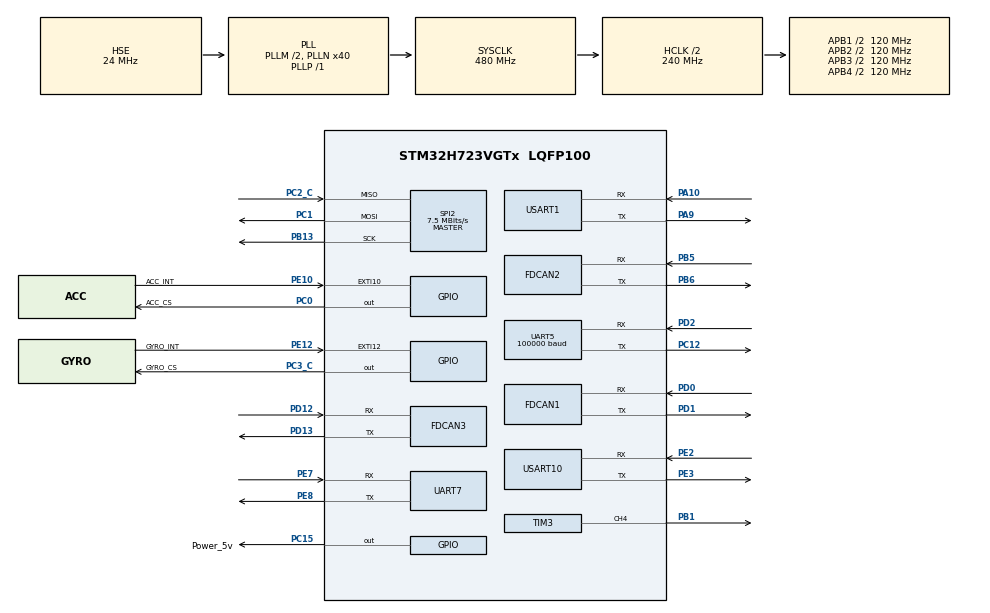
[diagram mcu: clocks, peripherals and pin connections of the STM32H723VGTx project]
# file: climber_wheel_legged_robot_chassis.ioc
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CORTEX_M7.AccessPermission-Cortex_Memory_Protection_Unit_Region0_Settings=MPU_REGION_FULL_ACCESS
CORTEX_M7.BaseAddress-Cortex_Memory_Protection_Unit_Region0_Settings=0x24000000
CORTEX_M7.CPU_DCache=Disabled
CORTEX_M7.CPU_ICache=Disabled
CORTEX_M7.Enable-Cortex_Memory_Protection_Unit_Region0_Settings=MPU_REGION_ENABLE
CORTEX_M7.IsBufferable-Cortex_Memory_Protection_Unit_Region0_Settings=MPU_ACCESS_BUFFERABLE
CORTEX_M7.IsCacheable-Cortex_Memory_Protection_Unit_Region0_Settings=MPU_ACCESS_CACHEABLE
CORTEX_M7.MPU_Control=__NULL
CORTEX_M7.Size-Cortex_Memory_Protection_Unit_Region0_Settings=MPU_REGION_SIZE_512KB
CORTEX_M7.TypeExtField-Cortex_Memory_Protection_Unit_Region0_Settings=MPU_TEX_LEVEL1
Dma.Request0=UART5_RX
Dma.Request1=SPI2_RX
Dma.Request2=SPI2_TX
Dma.Request3=USART1_TX
Dma.Request4=UART7_RX
Dma.Request5=UART7_TX
Dma.Request6=USART10_RX
Dma.SPI2_RX.1.Direction=DMA_PERIPH_TO_MEMORY
Dma.SPI2_RX.1.EventEnable=DISABLE
Dma.SPI2_RX.1.FIFOMode=DMA_FIFOMODE_DISABLE
Dma.SPI2_RX.1.Instance=DMA1_Stream0
Dma.SPI2_RX.1.MemDataAlignment=DMA_MDATAALIGN_BYTE
Dma.SPI2_RX.1.MemInc=DMA_MINC_ENABLE
Dma.SPI2_RX.1.Mode=DMA_NORMAL
Dma.SPI2_RX.1.PeriphDataAlignment=DMA_PDATAALIGN_BYTE
Dma.SPI2_RX.1.PeriphInc=DMA_PINC_DISABLE
Dma.SPI2_RX.1.Polarity=HAL_DMAMUX_REQ_GEN_RISING
Dma.SPI2_RX.1.Priority=DMA_PRIORITY_VERY_HIGH
Dma.SPI2_RX.1.RequestNumber=1
Dma.SPI2_RX.1.SignalID=NONE
Dma.SPI2_RX.1.SyncEnable=DISABLE
Dma.SPI2_RX.1.SyncPolarity=HAL_DMAMUX_SYNC_NO_EVENT
Dma.SPI2_RX.1.SyncRequestNumber=1
Dma.SPI2_RX.1.SyncSignalID=NONE
Dma.SPI2_TX.2.Direction=DMA_MEMORY_TO_PERIPH
Dma.SPI2_TX.2.EventEnable=DISABLE
Dma.SPI2_TX.2.FIFOMode=DMA_FIFOMODE_DISABLE
Dma.SPI2_TX.2.Instance=DMA1_Stream2
Dma.SPI2_TX.2.MemDataAlignment=DMA_MDATAALIGN_BYTE
Dma.SPI2_TX.2.MemInc=DMA_MINC_ENABLE
Dma.SPI2_TX.2.Mode=DMA_NORMAL
Dma.SPI2_TX.2.PeriphDataAlignment=DMA_PDATAALIGN_BYTE
Dma.SPI2_TX.2.PeriphInc=DMA_PINC_DISABLE
Dma.SPI2_TX.2.Polarity=HAL_DMAMUX_REQ_GEN_RISING
Dma.SPI2_TX.2.Priority=DMA_PRIORITY_HIGH
Dma.SPI2_TX.2.RequestNumber=1
Dma.SPI2_TX.2.SignalID=NONE
Dma.SPI2_TX.2.SyncEnable=DISABLE
Dma.SPI2_TX.2.SyncPolarity=HAL_DMAMUX_SYNC_NO_EVENT
Dma.SPI2_TX.2.SyncRequestNumber=1
Dma.SPI2_TX.2.SyncSignalID=NONE
Dma.UART5_RX.0.Direction=DMA_PERIPH_TO_MEMORY
Dma.UART5_RX.0.EventEnable=DISABLE
Dma.UART5_RX.0.FIFOMode=DMA_FIFOMODE_DISABLE
Dma.UART5_RX.0.Instance=DMA2_Stream1
Dma.UART5_RX.0.MemDataAlignment=DMA_MDATAALIGN_BYTE
Dma.UART5_RX.0.MemInc=DMA_MINC_ENABLE
Dma.UART5_RX.0.Mode=DMA_CIRCULAR
Dma.UART5_RX.0.PeriphDataAlignment=DMA_PDATAALIGN_BYTE
Dma.UART5_RX.0.PeriphInc=DMA_PINC_DISABLE
Dma.UART5_RX.0.Polarity=HAL_DMAMUX_REQ_GEN_RISING
Dma.UART5_RX.0.Priority=DMA_PRIORITY_LOW
Dma.UART5_RX.0.RequestNumber=1
Dma.UART5_RX.0.SignalID=NONE
Dma.UART5_RX.0.SyncEnable=DISABLE
Dma.UART5_RX.0.SyncPolarity=HAL_DMAMUX_SYNC_NO_EVENT
Dma.UART5_RX.0.SyncRequestNumber=1
Dma.UART5_RX.0.SyncSignalID=NONE
Dma.UART7_RX.4.Direction=DMA_PERIPH_TO_MEMORY
Dma.UART7_RX.4.EventEnable=DISABLE
Dma.UART7_RX.4.FIFOMode=DMA_FIFOMODE_DISABLE
Dma.UART7_RX.4.Instance=DMA2_Stream6
Dma.UART7_RX.4.MemDataAlignment=DMA_MDATAALIGN_BYTE
Dma.UART7_RX.4.MemInc=DMA_MINC_ENABLE
Dma.UART7_RX.4.Mode=DMA_NORMAL
Dma.UART7_RX.4.PeriphDataAlignment=DMA_PDATAALIGN_BYTE
Dma.UART7_RX.4.PeriphInc=DMA_PINC_DISABLE
Dma.UART7_RX.4.Polarity=HAL_DMAMUX_REQ_GEN_RISING
Dma.UART7_RX.4.Priority=DMA_PRIORITY_LOW
Dma.UART7_RX.4.RequestNumber=1
Dma.UART7_RX.4.SignalID=NONE
Dma.UART7_RX.4.SyncEnable=DISABLE
Dma.UART7_RX.4.SyncPolarity=HAL_DMAMUX_SYNC_NO_EVENT
Dma.UART7_RX.4.SyncRequestNumber=1
Dma.UART7_RX.4.SyncSignalID=NONE
Dma.UART7_TX.5.Direction=DMA_MEMORY_TO_PERIPH
Dma.UART7_TX.5.EventEnable=DISABLE
Dma.UART7_TX.5.FIFOMode=DMA_FIFOMODE_DISABLE
Dma.UART7_TX.5.Instance=DMA1_Stream1
Dma.UART7_TX.5.MemDataAlignment=DMA_MDATAALIGN_BYTE
Dma.UART7_TX.5.MemInc=DMA_MINC_ENABLE
Dma.UART7_TX.5.Mode=DMA_NORMAL
Dma.UART7_TX.5.PeriphDataAlignment=DMA_PDATAALIGN_BYTE
Dma.UART7_TX.5.PeriphInc=DMA_PINC_DISABLE
Dma.UART7_TX.5.Polarity=HAL_DMAMUX_REQ_GEN_RISING
Dma.UART7_TX.5.Priority=DMA_PRIORITY_LOW
Dma.UART7_TX.5.RequestNumber=1
Dma.UART7_TX.5.SignalID=NONE
Dma.UART7_TX.5.SyncEnable=DISABLE
Dma.UART7_TX.5.SyncPolarity=HAL_DMAMUX_SYNC_NO_EVENT
Dma.UART7_TX.5.SyncRequestNumber=1
Dma.UART7_TX.5.SyncSignalID=NONE
Dma.USART10_RX.6.Direction=DMA_PERIPH_TO_MEMORY
Dma.USART10_RX.6.EventEnable=DISABLE
Dma.USART10_RX.6.FIFOMode=DMA_FIFOMODE_DISABLE
Dma.USART10_RX.6.Instance=DMA1_Stream3
Dma.USART10_RX.6.MemDataAlignment=DMA_MDATAALIGN_BYTE
Dma.USART10_RX.6.MemInc=DMA_MINC_ENABLE
Dma.USART10_RX.6.Mode=DMA_NORMAL
Dma.USART10_RX.6.PeriphDataAlignment=DMA_PDATAALIGN_BYTE
Dma.USART10_RX.6.PeriphInc=DMA_PINC_DISABLE
Dma.USART10_RX.6.Polarity=HAL_DMAMUX_REQ_GEN_RISING
Dma.USART10_RX.6.Priority=DMA_PRIORITY_MEDIUM
Dma.USART10_RX.6.RequestNumber=1
Dma.USART10_RX.6.SignalID=NONE
Dma.USART10_RX.6.SyncEnable=DISABLE
Dma.USART10_RX.6.SyncPolarity=HAL_DMAMUX_SYNC_NO_EVENT
Dma.USART10_RX.6.SyncRequestNumber=1
Dma.USART10_RX.6.SyncSignalID=NONE
Dma.USART1_TX.3.Direction=DMA_MEMORY_TO_PERIPH
Dma.USART1_TX.3.EventEnable=DISABLE
Dma.USART1_TX.3.FIFOMode=DMA_FIFOMODE_DISABLE
Dma.USART1_TX.3.Instance=DMA2_Stream0
Dma.USART1_TX.3.MemDataAlignment=DMA_MDATAALIGN_BYTE
Dma.USART1_TX.3.MemInc=DMA_MINC_ENABLE
Dma.USART1_TX.3.Mode=DMA_NORMAL
Dma.USART1_TX.3.PeriphDataAlignment=DMA_PDATAALIGN_BYTE
Dma.USART1_TX.3.PeriphInc=DMA_PINC_DISABLE
Dma.USART1_TX.3.Polarity=HAL_DMAMUX_REQ_GEN_RISING
Dma.USART1_TX.3.Priority=DMA_PRIORITY_LOW
Dma.USART1_TX.3.RequestNumber=1
Dma.USART1_TX.3.SignalID=NONE
Dma.USART1_TX.3.SyncEnable=DISABLE
Dma.USART1_TX.3.SyncPolarity=HAL_DMAMUX_SYNC_NO_EVENT
Dma.USART1_TX.3.SyncRequestNumber=1
Dma.USART1_TX.3.SyncSignalID=NONE
FDCAN1.AutoRetransmission=ENABLE
FDCAN1.CalculateBaudRateNominal=1000000
FDCAN1.CalculateTimeBitNominal=1000
FDCAN1.CalculateTimeQuantumNominal=50.0
FDCAN1.DataPrescaler=5
FDCAN1.DataSyncJumpWidth=1
FDCAN1.DataTimeSeg1=14
FDCAN1.DataTimeSeg2=5
FDCAN1.ExtFiltersNbr=0
FDCAN1.FrameFormat=FDCAN_FRAME_CLASSIC
FDCAN1.NominalPrescaler=5
FDCAN1.NominalSyncJumpWidth=1
FDCAN1.NominalTimeSeg1=14
FDCAN1.NominalTimeSeg2=5
FDCAN1.ProtocolException=DISABLE
FDCAN1.RxBuffersNbr=0
FDCAN1.RxFifo0ElmtSize=FDCAN_DATA_BYTES_8
FDCAN1.RxFifo0ElmtsNbr=4
FDCAN1.RxFifo1ElmtSize=FDCAN_DATA_BYTES_8
FDCAN1.RxFifo1ElmtsNbr=0
FDCAN1.StdFiltersNbr=1
FDCAN1.TxBuffersNbr=0
FDCAN1.TxElmtSize=FDCAN_DATA_BYTES_8
FDCAN1.TxEventsNbr=0
FDCAN1.TxFifoQueueElmtsNbr=3
FDCAN2.AutoRetransmission=ENABLE
FDCAN2.CalculateBaudRateNominal=1000000
FDCAN2.CalculateTimeBitNominal=1000
FDCAN2.CalculateTimeQuantumNominal=50.0
FDCAN2.DataPrescaler=5
FDCAN2.DataSyncJumpWidth=1
FDCAN2.DataTimeSeg1=14
FDCAN2.DataTimeSeg2=5
FDCAN2.ExtFiltersNbr=0
FDCAN2.FrameFormat=FDCAN_FRAME_CLASSIC
FDCAN2.MessageRAMOffset=854
FDCAN2.NominalPrescaler=5
FDCAN2.NominalSyncJumpWidth=1
FDCAN2.NominalTimeSeg1=14
FDCAN2.NominalTimeSeg2=5
FDCAN2.ProtocolException=DISABLE
FDCAN2.RxBufferSize=FDCAN_DATA_BYTES_8
FDCAN2.RxBuffersNbr=0
FDCAN2.RxFifo0ElmtsNbr=0
FDCAN2.RxFifo1ElmtSize=FDCAN_DATA_BYTES_8
FDCAN2.RxFifo1ElmtsNbr=4
FDCAN2.StdFiltersNbr=1
FDCAN2.TxBuffersNbr=0
FDCAN2.TxElmtSize=FDCAN_DATA_BYTES_8
FDCAN2.TxEventsNbr=0
FDCAN2.TxFifoQueueElmtsNbr=3
FDCAN3.CalculateBaudRateNominal=1000000
FDCAN3.CalculateTimeBitNominal=1000
FDCAN3.CalculateTimeQuantumNominal=50.0
FDCAN3.DataPrescaler=5
FDCAN3.DataSyncJumpWidth=1
FDCAN3.DataTimeSeg1=14
FDCAN3.DataTimeSeg2=5
FDCAN3.ExtFiltersNbr=0
FDCAN3.FrameFormat=FDCAN_FRAME_CLASSIC
FDCAN3.MessageRAMOffset=1709
FDCAN3.NominalPrescaler=5
FDCAN3.NominalSyncJumpWidth=1
FDCAN3.NominalTimeSeg1=14
FDCAN3.NominalTimeSeg2=5
FDCAN3.RxBuffersNbr=0
FDCAN3.RxFifo0ElmtsNbr=4
FDCAN3.RxFifo1ElmtsNbr=0
FDCAN3.StdFiltersNbr=1
FDCAN3.TxBuffersNbr=0
FDCAN3.TxElmtSize=FDCAN_DATA_BYTES_24
FDCAN3.TxEventsNbr=0
FDCAN3.TxFifoQueueElmtsNbr=4
FREERTOS.Tasks01=defaultTask,-2,128,StartDefaultTask,Default,NULL,Dynamic,NULL,NULL;Chassis_Task,1,512,chassis_task,As external,NULL,Dynamic,NULL,NULL;IMU_task,3,1024,imu_task,As weak,NULL,Dynamic,NULL,NULL;State_check,0,128,State_check_task,As weak,NULL,Dynamic,NULL,NULL;MY_UI_Task,0,512,UI_Task,As weak,NULL,Dynamic,NULL,NULL;Talk_Task,0,128,Talk_Task_start,As weak,NULL,Dynamic,NULL,NULL
Mcu.Family=STM32H7
Mcu.Name=STM32H723VGTx
Mcu.Package=LQFP100
NVIC.DMA1_Stream0_IRQn=true\:5\:0\:false\:false\:true\:true\:false\:true\:true
NVIC.DMA1_Stream1_IRQn=true\:5\:0\:false\:false\:true\:true\:false\:true\:true
NVIC.DMA1_Stream2_IRQn=true\:5\:0\:true\:false\:true\:false\:false\:true\:true
NVIC.DMA1_Stream3_IRQn=true\:5\:0\:false\:false\:true\:true\:false\:true\:true
NVIC.DMA2_Stream0_IRQn=true\:5\:0\:false\:false\:true\:true\:false\:true\:true
NVIC.DMA2_Stream1_IRQn=true\:5\:0\:false\:false\:true\:false\:false\:true\:true
NVIC.DMA2_Stream6_IRQn=true\:5\:0\:false\:false\:true\:false\:false\:true\:true
NVIC.FDCAN1_IT0_IRQn=true\:5\:0\:false\:false\:true\:true\:true\:true\:true
NVIC.FDCAN2_IT0_IRQn=true\:5\:0\:false\:false\:true\:true\:true\:true\:true
NVIC.FDCAN3_IT0_IRQn=true\:5\:0\:false\:false\:true\:true\:true\:true\:true
NVIC.PriorityGroup=NVIC_PRIORITYGROUP_4
NVIC.SPI2_IRQn=true\:5\:0\:false\:false\:true\:true\:true\:true\:true
NVIC.TIM2_IRQn=true\:15\:0\:false\:false\:true\:false\:false\:true\:true
NVIC.TimeBase=TIM2_IRQn
NVIC.TimeBaseIP=TIM2
NVIC.UART5_IRQn=true\:5\:0\:false\:false\:true\:true\:true\:true\:true
NVIC.UART7_IRQn=true\:5\:0\:false\:false\:false\:true\:true\:true\:true
NVIC.USART10_IRQn=true\:5\:0\:false\:false\:false\:true\:true\:true\:true
NVIC.USART1_IRQn=true\:5\:0\:false\:false\:true\:true\:true\:true\:true
PA10.Mode=Asynchronous
PA10.Signal=USART1_RX
PA13(JTMS/SWDIO).Mode=Serial_Wire
PA13(JTMS/SWDIO).Signal=DEBUG_JTMS-SWDIO
PA14(JTCK/SWCLK).Mode=Serial_Wire
PA14(JTCK/SWCLK).Signal=DEBUG_JTCK-SWCLK
PA9.Mode=Asynchronous
PA9.Signal=USART1_TX
PB1.Signal=S_TIM3_CH4
PB13.Mode=Full_Duplex_Master
PB13.Signal=SPI2_SCK
PB5.Mode=FDCAN_Activate
PB5.Signal=FDCAN2_RX
PB6.Mode=FDCAN_Activate
PB6.Signal=FDCAN2_TX
PC0.GPIO_Label=ACC_CS
PC0.GPIO_Speed=GPIO_SPEED_FREQ_VERY_HIGH
PC0.PinState=GPIO_PIN_SET
PC0.Signal=GPIO_Output
PC1.Mode=Full_Duplex_Master
PC1.Signal=SPI2_MOSI
PC12.Mode=Asynchronous
PC12.Signal=UART5_TX
PC15-OSC32_OUT.GPIO_Label=Power_5v
PC15-OSC32_OUT.Signal=GPIO_Output
PC2_C.Mode=Full_Duplex_Master
PC2_C.Signal=SPI2_MISO
PC3_C.GPIO_Label=GYRO_CS
PC3_C.GPIO_Speed=GPIO_SPEED_FREQ_VERY_HIGH
PC3_C.PinState=GPIO_PIN_SET
PC3_C.Signal=GPIO_Output
PD0.Mode=FDCAN_Activate
PD0.Signal=FDCAN1_RX
PD1.Mode=FDCAN_Activate
PD1.Signal=FDCAN1_TX
PD12.Mode=FDCAN_Activate
PD12.Signal=FDCAN3_RX
PD13.Mode=FDCAN_Activate
PD13.Signal=FDCAN3_TX
PD2.Mode=Asynchronous
PD2.Signal=UART5_RX
PE10.GPIO_Label=ACC_INT
PE10.Signal=GPXTI10
PE12.GPIO_Label=GYRO_INT
PE12.Signal=GPXTI12
PE2.Mode=Asynchronous
PE2.Signal=USART10_RX
PE3.Mode=Asynchronous
PE3.Signal=USART10_TX
PE7.Mode=Asynchronous
PE7.Signal=UART7_RX
PE8.Mode=Asynchronous
PE8.Signal=UART7_TX
PH0-OSC_IN.Mode=HSE-External-Oscillator
PH0-OSC_IN.Signal=RCC_OSC_IN
PH1-OSC_OUT.Mode=HSE-External-Oscillator
PH1-OSC_OUT.Signal=RCC_OSC_OUT
ProjectManager.HeapSize=0x200
ProjectManager.StackSize=0x800
ProjectManager.TargetToolchain=MDK-ARM V5.32
RCC.ADCFreq_Value=100000000
RCC.APB1Freq_Value=120000000
RCC.APB2Freq_Value=120000000
RCC.APB3Freq_Value=120000000
RCC.APB4Freq_Value=120000000
RCC.CortexFreq_Value=480000000
RCC.D1PPRE=RCC_APB3_DIV2
RCC.D2PPRE1=RCC_APB1_DIV2
RCC.D2PPRE2=RCC_APB2_DIV2
RCC.D3PPRE=RCC_APB4_DIV2
RCC.DIVM1=2
RCC.DIVM2=24
RCC.DIVN1=40
RCC.DIVN2=200
RCC.DIVP1=1
RCC.FDCANCLockSelection=RCC_FDCANCLKSOURCE_PLL2
RCC.HCLKFreq_Value=240000000
RCC.HPRE=RCC_HCLK_DIV2
RCC.HSE_VALUE=24000000
RCC.PLL2FRACN=0
RCC.PLL3FRACN=0
RCC.PLLFRACN=0
RCC.PLLSourceVirtual=RCC_PLLSOURCE_HSE
RCC.SYSCLKFreq_VALUE=480000000
RCC.SYSCLKSource=RCC_SYSCLKSOURCE_PLLCLK
RCC.USBFreq_Value=240000000
SH.S_TIM3_CH4.0=TIM3_CH4,PWM Generation4 CH4
SPI2.BaudRatePrescaler=SPI_BAUDRATEPRESCALER_32
SPI2.CLKPhase=SPI_PHASE_2EDGE
SPI2.CLKPolarity=SPI_POLARITY_HIGH
SPI2.CalculateBaudRate=7.5 MBits/s
SPI2.DataSize=SPI_DATASIZE_8BIT
SPI2.Direction=SPI_DIRECTION_2LINES
SPI2.Mode=SPI_MODE_MASTER
SPI2.VirtualType=VM_MASTER
TIM3.AutoReloadPreload=TIM_AUTORELOAD_PRELOAD_ENABLE
TIM3.Channel-PWM\ Generation4\ CH4=TIM_CHANNEL_4
TIM3.Period=10000-1
TIM3.Prescaler=24-1
UART5.BaudRate=100000
UART5.Mode=MODE_TX_RX
UART5.Parity=PARITY_EVEN
UART5.StopBits=UART_STOPBITS_2
UART5.WordLength=WORDLENGTH_9B
USART1.VirtualMode-Asynchronous=VM_ASYNC
USART10.VirtualMode=VM_ASYNC
VP_FREERTOS_VS_CMSIS_V1.Mode=CMSIS_V1
VP_MEMORYMAP_VS_MEMORYMAP.Mode=CurAppReg
VP_SYS_VS_tim2.Mode=TIM2
board=custom

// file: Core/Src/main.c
/* USER CODE BEGIN Header */
/**
  ******************************************************************************
  * @file           : main.c
  * @brief          : Main program body
  ******************************************************************************
  * @attention
  *
  * Copyright (c) 2025 STMicroelectronics.
  * All rights reserved.
  *
  * This software is licensed under terms that can be found in the LICENSE file
  * in the root directory of this software component.
  * If no LICENSE file comes with this software, it is provided AS-IS.
  *
  ******************************************************************************

	�����ֲ�;
	��������          ����̬             ���������쳤��Ȼ�����ڶ����Ӵ���������
	��������          ��������ϵ����    ҡ�����ɿ��ƣ���ת��ˮƽҡ�ˣ�ǰ����������ֱҡ��   ����ֱҡ�˿����ȳ�
											1.������ؼ��   ��֤��ˮƽ���˿���
  */
/* USER CODE END Header */
#include "main.h"
#include "cmsis_os.h"
#include "dma.h"
#include "fdcan.h"
#include "spi.h"
#include "tim.h"
#include "usart.h"
#include "gpio.h"

/* USER CODE BEGIN Includes */
#include "bsp_can.h"
#include "CAN_cmd_damiao.h"
#include "IMU_task.h"
#include "bsp_rc.h"
#include "CAN_receive.h"
#include "chassis_task.h"
#include "computer_rec.h"
#include "TOF_distance.h"
extern uint8_t rx_buff[BUFF_SIZE];

/* USER CODE END Includes */

void SystemClock_Config(void);
void PeriphCommonClock_Config(void);
void MX_FREERTOS_Init(void);

int main(void)
{

  /* MCU Configuration--------------------------------------------------------*/

  /* Reset of all peripherals, Initializes the Flash interface and the Systick. */

  HAL_Init();

  /* Configure the system clock */
  SystemClock_Config();

  /* Configure the peripherals common clocks */
  PeriphCommonClock_Config();

  /* Initialize all configured peripherals */
  MX_GPIO_Init();
  MX_DMA_Init();
  MX_FDCAN1_Init();
  MX_FDCAN2_Init();
  MX_FDCAN3_Init();
  MX_SPI2_Init();
  MX_TIM3_Init();
  MX_UART5_Init();
  MX_USART1_UART_Init();
  MX_UART7_Init();
  MX_USART10_UART_Init();
  /* USER CODE BEGIN 2 */
  FDCAN1_Config();
	FDCAN2_Config();
  FDCAN3_Config();

 HAL_UARTEx_ReceiveToIdle_IT(&huart5,rx_buff, 18);
 Computer_rec_init();
 TOF_control_init();

	HAL_GPIO_WritePin(Power_5v_GPIO_Port,Power_5v_Pin,1);
  /* USER CODE END 2 */

  /* Call init function for freertos objects (in cmsis_os2.c) */
  MX_FREERTOS_Init();

  /* Start scheduler */
  osKernelStart();

  /* We should never get here as control is now taken by the scheduler */

  /* Infinite loop */
  while (1)
  {

  }
}

void SystemClock_Config(void)
{
  RCC_OscInitTypeDef RCC_OscInitStruct = {0};
  RCC_ClkInitTypeDef RCC_ClkInitStruct = {0};

  /** Supply configuration update enable
  */
  HAL_PWREx_ConfigSupply(PWR_LDO_SUPPLY);

  /** Configure the main internal regulator output voltage
  */
  __HAL_PWR_VOLTAGESCALING_CONFIG(PWR_REGULATOR_VOLTAGE_SCALE0);

  while(!__HAL_PWR_GET_FLAG(PWR_FLAG_VOSRDY)) {}

  /** Initializes the RCC Oscillators according to the specified parameters
  * in the RCC_OscInitTypeDef structure.
  */
  RCC_OscInitStruct.OscillatorType = RCC_OSCILLATORTYPE_HSE;
  RCC_OscInitStruct.HSEState = RCC_HSE_ON;
  RCC_OscInitStruct.PLL.PLLState = RCC_PLL_ON;
  RCC_OscInitStruct.PLL.PLLSource = RCC_PLLSOURCE_HSE;
  RCC_OscInitStruct.PLL.PLLM = 2;
  RCC_OscInitStruct.PLL.PLLN = 40;
  RCC_OscInitStruct.PLL.PLLP = 1;
  RCC_OscInitStruct.PLL.PLLQ = 2;
  RCC_OscInitStruct.PLL.PLLR = 2;
  RCC_OscInitStruct.PLL.PLLRGE = RCC_PLL1VCIRANGE_3;
  RCC_OscInitStruct.PLL.PLLVCOSEL = RCC_PLL1VCOWIDE;
  RCC_OscInitStruct.PLL.PLLFRACN = 0;
  if (HAL_RCC_OscConfig(&RCC_OscInitStruct) != HAL_OK)
  {
    Error_Handler();
  }

  /** Initializes the CPU, AHB and APB buses clocks
  */
  RCC_ClkInitStruct.ClockType = RCC_CLOCKTYPE_HCLK|RCC_CLOCKTYPE_SYSCLK
                              |RCC_CLOCKTYPE_PCLK1|RCC_CLOCKTYPE_PCLK2
                              |RCC_CLOCKTYPE_D3PCLK1|RCC_CLOCKTYPE_D1PCLK1;
  RCC_ClkInitStruct.SYSCLKSource = RCC_SYSCLKSOURCE_PLLCLK;
  RCC_ClkInitStruct.SYSCLKDivider = RCC_SYSCLK_DIV1;
  RCC_ClkInitStruct.AHBCLKDivider = RCC_HCLK_DIV2;
  RCC_ClkInitStruct.APB3CLKDivider = RCC_APB3_DIV2;
  RCC_ClkInitStruct.APB1CLKDivider = RCC_APB1_DIV2;
  RCC_ClkInitStruct.APB2CLKDivider = RCC_APB2_DIV2;
  RCC_ClkInitStruct.APB4CLKDivider = RCC_APB4_DIV2;

  if (HAL_RCC_ClockConfig(&RCC_ClkInitStruct, FLASH_LATENCY_3) != HAL_OK)
  {
    Error_Handler();
  }
}

void PeriphCommonClock_Config(void)
{
  RCC_PeriphCLKInitTypeDef PeriphClkInitStruct = {0};

  /** Initializes the peripherals clock
  */
  PeriphClkInitStruct.PeriphClockSelection = RCC_PERIPHCLK_FDCAN;
  PeriphClkInitStruct.PLL2.PLL2M = 24;
  PeriphClkInitStruct.PLL2.PLL2N = 200;
  PeriphClkInitStruct.PLL2.PLL2P = 2;
  PeriphClkInitStruct.PLL2.PLL2Q = 2;
  PeriphClkInitStruct.PLL2.PLL2R = 2;
  PeriphClkInitStruct.PLL2.PLL2RGE = RCC_PLL2VCIRANGE_0;
  PeriphClkInitStruct.PLL2.PLL2VCOSEL = RCC_PLL2VCOMEDIUM;
  PeriphClkInitStruct.PLL2.PLL2FRACN = 0;
  PeriphClkInitStruct.FdcanClockSelection = RCC_FDCANCLKSOURCE_PLL2;
  if (HAL_RCCEx_PeriphCLKConfig(&PeriphClkInitStruct) != HAL_OK)
  {
    Error_Handler();
  }
}

void HAL_TIM_PeriodElapsedCallback(TIM_HandleTypeDef *htim)
{
  if (htim->Instance == TIM2)
  {
    HAL_IncTick();
  }
}

void Error_Handler(void)
{
  __disable_irq();
  while (1)
  {
  }
}

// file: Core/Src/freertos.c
/* USER CODE BEGIN Header */
/**
  ******************************************************************************
  * File Name          : freertos.c
  * Description        : Code for freertos applications
  ******************************************************************************
  * @attention
  *
  * Copyright (c) 2025 STMicroelectronics.
  * All rights reserved.
  *
  * This software is licensed under terms that can be found in the LICENSE file
  * in the root directory of this software component.
  * If no LICENSE file comes with this software, it is provided AS-IS.
  *
  ******************************************************************************
  */
/* USER CODE END Header */

#include "FreeRTOS.h"
#include "task.h"
#include "main.h"
#include "cmsis_os.h"

/* USER CODE BEGIN Includes */
#include "chassis_task.h"
#include "stdio.h"
#include "usart.h"
#include "CAN_receive.h"
#include "CAN_cmd_damiao.h"
#include "fdcan.h"
extern Chassis_s CHASSIS ;

extern float ddot_z_M ;
extern float l0 ;
extern float v_l0;
extern float theta;
extern float w_theta ;

extern float dot_v_l0 ;
extern float dot_w_theta ;
extern float ddot_z_w ;
extern float F_ff;
/* USER CODE END Includes */

osThreadId defaultTaskHandle;
osThreadId Chassis_TaskHandle;
osThreadId IMU_taskHandle;
osThreadId State_checkHandle;
osThreadId MY_UI_TaskHandle;

void StartDefaultTask(void const * argument);
extern void chassis_task(void const * argument);
void imu_task(void const * argument);
void State_check_task(void const * argument);
void UI_Task(void const * argument);

void MX_FREERTOS_Init(void); /* (MISRA C 2004 rule 8.1) */

/* GetIdleTaskMemory prototype (linked to static allocation support) */
void vApplicationGetIdleTaskMemory( StaticTask_t **ppxIdleTaskTCBBuffer, StackType_t **ppxIdleTaskStackBuffer, uint32_t *pulIdleTaskStackSize );

/* USER CODE BEGIN GET_IDLE_TASK_MEMORY */
static StaticTask_t xIdleTaskTCBBuffer;
static StackType_t xIdleStack[configMINIMAL_STACK_SIZE];

void vApplicationGetIdleTaskMemory( StaticTask_t **ppxIdleTaskTCBBuffer, StackType_t **ppxIdleTaskStackBuffer, uint32_t *pulIdleTaskStackSize )
{
  *ppxIdleTaskTCBBuffer = &xIdleTaskTCBBuffer;
  *ppxIdleTaskStackBuffer = &xIdleStack[0];
  *pulIdleTaskStackSize = configMINIMAL_STACK_SIZE;
  /* place for user code */
}
/* USER CODE END GET_IDLE_TASK_MEMORY */

void MX_FREERTOS_Init(void) {

  /* Create the thread(s) */
  /* definition and creation of defaultTask */
  osThreadDef(defaultTask, StartDefaultTask, osPriorityLow, 0, 128);
  defaultTaskHandle = osThreadCreate(osThread(defaultTask), NULL);

  /* definition and creation of Chassis_Task */
  osThreadDef(Chassis_Task, chassis_task, osPriorityAboveNormal, 0, 512);
  Chassis_TaskHandle = osThreadCreate(osThread(Chassis_Task), NULL);

  /* definition and creation of IMU_task */
  osThreadDef(IMU_task, imu_task, osPriorityRealtime, 0, 1024);
  IMU_taskHandle = osThreadCreate(osThread(IMU_task), NULL);

  /* definition and creation of State_check */
  osThreadDef(State_check, State_check_task, osPriorityNormal, 0, 128);
  State_checkHandle = osThreadCreate(osThread(State_check), NULL);

  /* definition and creation of MY_UI_Task */
  osThreadDef(MY_UI_Task, UI_Task, osPriorityNormal, 0, 512);
  MY_UI_TaskHandle = osThreadCreate(osThread(MY_UI_Task), NULL);

}

/* USER CODE BEGIN Header_StartDefaultTask */
/**
  * @brief  Function implementing the defaultTask thread.
  * @param  argument: Not used
  * @ retval None
  */
/* USER CODE END Header_StartDefaultTask */
void StartDefaultTask(void const * argument)
{
  /* USER CODE BEGIN StartDefaultTask */
//    float M3508_velocity_pid[3] = {150, 0, 0};
//    PID_init(&CHASSIS.pid.wheel_stop[0], PID_POSITION,M3508_velocity_pid, 16384,1000);
//		PID_init(&CHASSIS.pid.wheel_stop[1], PID_POSITION,M3508_velocity_pid, 16384,1000);

  /* Infinite loop */
  for(;;)
  {

//      CHASSIS.wheel_motor[0].set.curr=PID_calc(&CHASSIS.pid.wheel_stop[0], CHASSIS.wheel_motor[0].fdb.vel, 400);
//		 CHASSIS.wheel_motor[1].set.curr= PID_calc(&CHASSIS.pid.wheel_stop[1], CHASSIS.wheel_motor[1].fdb.vel, 400);
//	      CanCmdDjiMotor(&hfdcan2,0x200,CHASSIS.wheel_motor[1].set.curr,CHASSIS.wheel_motor[0].set.curr,0,0);

//printf_DMA("%f,%f\n",CHASSIS.fdb.leg_state[0].x_dot,CHASSIS.fdb.leg_state[0].x);
//printf("%f,%f,%f,%f\n",CHASSIS.wheel_motor[0].set.tor,CHASSIS.fdb.leg_state[0].x_dot,CHASSIS.wheel_motor[1].set.tor,CHASSIS.fdb.leg_state[1].x_dot);
//腿长PID
//printf_DMA("%f,%f\n",CHASSIS.pid.stand_up.fdb,CHASSIS.pid.stand_up.set);
//printf("%f,%f\n",CHASSIS.fdb.leg_state[0].theta,CHASSIS.ref.leg_state[0].theta);
//YAW轴速度环调试
//printf_DMA("%f,%f\n",CHASSIS.fdb.body.yaw_dot,CHASSIS.ref.speed_vector.wz);
//防劈叉以及滤波后数据比较
//printf_DMA("%f,%f,%f\n",CHASSIS.fdb.two_leg_err,CHASSIS.pid.leg_tp.fdb,CHASSIS.pid.leg_tp.set);
//x[2] = x2_OFFSET + (CHASSIS.fdb.leg_state[i].x         - CHASSIS.ref.leg_state[i].x);
//printf("%f,%f\n",CHASSIS.fdb.leg_state[0].x,CHASSIS.ref.leg_state[0].x);
//离地情况检测
// printf_DMA("%d,%d\n",CHASSIS.fdb.leg[0].is_take_off,CHASSIS.fdb.leg[1].is_take_off);
//地面支持力情况检测
//printf_DMA("%f,%f,%d\n", CHASSIS.fdb.leg[0].Fn,ddot_z_w,CHASSIS.fdb.leg[0].is_take_off);
//  离地瞬间轮毂情况
//printf_DMA("%f,%d\n",CHASSIS.cmd.leg[0].wheel.T,CHASSIS.fdb.leg[0].is_take_off);
//关节反馈解得摆杆支持力  F  竖直方向
//printf_DMA("%f,%f\n",CHASSIS.fdb.leg[0].rod.F_costheta,CHASSIS.fdb.leg[1].rod.F_costheta);
//关节扭力在竖直方向的分量
//printf_DMA("%f,%f\n",CHASSIS.fdb.leg[0].rod.Tp_sintheta,CHASSIS.fdb.leg[1].rod.Tp_sintheta);
// 检查世界坐标系运动情况
//printf_DMA("%f,%f,%f\n",CHASSIS.fdb.world.x_accel,CHASSIS.fdb.world.y_accel,CHASSIS.fdb.world.z_accel);
//检查两腿的F
//printf_DMA("%f,%f\n",CHASSIS.fdb.leg[0].rod.Tp_sintheta,CHASSIS.fdb.leg[1].rod.Tp_sintheta);
//printf_DMA("%f,%f\n",CHASSIS.fdb.leg[0].rod.F_costheta,CHASSIS.fdb.leg[1].rod.F_costheta);
//pitch轴协调控制
//printf_DMA("%f,%f\n",CHASSIS.pid.pitch_angle.fdb,CHASSIS.pid.pitch_angle.set);
//phi0情况和phi0_dot
//printf_DMA("%f,%f\n",CHASSIS.fdb.body.pitch,CHASSIS.fdb.body.phi_dot);
//DM8009  峰值扭矩应该是40NM   3508减速箱  4.9NM
printf_DMA("%f\n",CHASSIS.cmd.leg[0].rod.F);
//轮毂输出力矩
//printf_DMA("%f,%f,%f,%f,%f,%f\n",CHASSIS.lqr_out.wheel_theta,CHASSIS.lqr_out.wheel_theta_dot,CHASSIS.lqr_out.wheel_x,CHASSIS.lqr_out.wheel_vel,CHASSIS.lqr_out.wheel_phi,CHASSIS.lqr_out.wheel_phi_dot);
//printf_DMA("%f,%f\n",CHASSIS.lqr_out.wheel_theta,CHASSIS.lqr_out.wheel_theta_dot);
//printf_DMA("%f,%f\n",CHASSIS.lqr_out.wheel_phi,CHASSIS.lqr_out.wheel_phi_dot);
//关节输出力矩
//printf_DMA("%f,%f,%f\n",CHASSIS.lqr_out.joint_theta,CHASSIS.lqr_out.wheel_theta,CHASSIS.fdb.leg[0].rod.Theta);
//printf_DMA("%f\n",  CHASSIS.fdb.body.x );
//printf_DMA("%f\n",CHASSIS.wheel_motor[0].set.tor);
//printf_DMA("%d,%d\n",CHASSIS.joint_motor[0].fdb.state,CHASSIS.joint_motor[1].fdb.state);
//printf_DMA("%f,%f\n",CHASSIS.joint_motor[0].fdb.tor,CHASSIS.joint_motor[1].fdb.tor);
//printf_DMA("%f,%f\n",CHASSIS.pid.leg_length_length[0].fdb,CHASSIS.pid.leg_length_length[0].set);
//检测轮毂电流大小
//printf_DMA("%f,%f\n",CHASSIS.wheel_motor[0].set.curr,CHASSIS.wheel_motor[1].set.curr);
//加速度情况检测
//printf_DMA("%f,%f\n",CHASSIS.fdb.body.y_accel,CHASSIS.fdb.world.x_accel);
//腿长变换情况检测
//printf_DMA("%f,%f,%f\n",CHASSIS.fdb.leg[1].rod.dL0,CHASSIS.fdb.leg[1].rod.ddL0,CHASSIS.lpf.leg_l0_accel_filter->out);
// printf_DMA("%f\n",ddot_z_M );//失重一瞬间会突然变成一个负值
// printf_DMA("%f\n",dot_v_l0 * cosf(theta) );//突然失重会变成正值
//printf_DMA("%f\n",ddot_z_w);
//跳跃参数查看
//printf_DMA("%f,%f\n",CHASSIS.cmd.leg[0].rod.F,CHASSIS.cmd.leg[1].rod.F);
//printf_DMA("%d,%f,%f\n",CHASSIS.step,CHASSIS.fdb.leg[0].rod.L0,CHASSIS.ref.rod_L0[0]);
//printf_DMA("%f,%f\n",CHASSIS.fdb.leg[0].rod.L0,CHASSIS.fdb.leg[1].rod.L0);
//左腿追右腿PID参数
//printf_DMA("%f,%f\n",CHASSIS.fdb.leg[0].rod.Theta,CHASSIS.fdb.leg[1].rod.Theta);
//虚拟摆杆和轮子扭矩参数
//printf_DMA("%f,%f\n",CHASSIS.cmd.leg[1].rod.Tp,CHASSIS.cmd.leg[0].rod.Tp);

//printf_DMA("%f\n",F_ff);
//printf_DMA("%f,%f\n",CHASSIS.fdb.leg_state[0].x_dot,CHASSIS.ref.leg_state[0].x_dot);
//printf_DMA("%d\n",CHASSIS.step);
//printf_DMA("%f,%f\n",CHASSIS.fdb.body.phi,CHASSIS.fdb.leg[0].rod.Theta);
//printf_DMA("%f,%f\n",CHASSIS.joint_motor[0].fdb.tor,CHASSIS.joint_motor[0].set.tor);

    osDelay(1);
  }
  /* USER CODE END StartDefaultTask */
}

__weak void imu_task(void const * argument)
{
  for(;;)
  {
    osDelay(1);
  }
}

__weak void State_check_task(void const * argument)
{
  for(;;)
  {
    osDelay(1);
  }
}

__weak void UI_Task(void const * argument)
{
  for(;;)
  {
    osDelay(1);
  }
}
